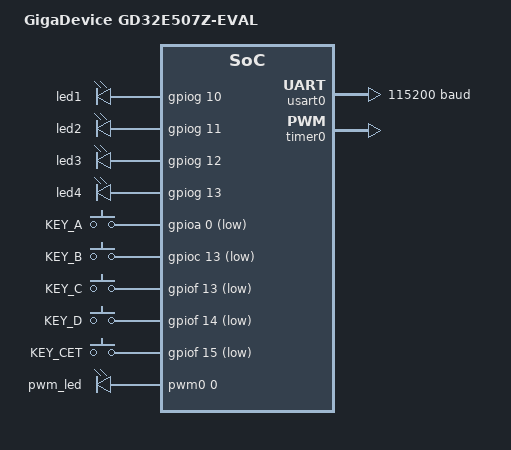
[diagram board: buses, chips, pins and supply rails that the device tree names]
/*
 * Copyright (c) 2022, Teslabs Engineering S.L.
 * SPDX-License-Identifier: Apache-2.0
 */

/dts-v1/;

#include <arm/gigadevice/gd32e50x/gd32e507xe.dtsi>
#include "gd32e507z_eval-pinctrl.dtsi"

/ {
	model = "GigaDevice GD32E507Z-EVAL";
	compatible = "gd,gd32e507z-eval";

	chosen {
		zephyr,sram = &sram0;
		zephyr,flash = &flash0;
		zephyr,console = &usart0;
		zephyr,shell-uart = &usart0;
	};

	leds {
		compatible = "gpio-leds";
		led1: led1 {
			gpios = <&gpiog 10 GPIO_ACTIVE_HIGH>;
		};
		led2: led2 {
			gpios = <&gpiog 11 GPIO_ACTIVE_HIGH>;
		};
		led3: led3 {
			gpios = <&gpiog 12 GPIO_ACTIVE_HIGH>;
		};
		led4: led4 {
			gpios = <&gpiog 13 GPIO_ACTIVE_HIGH>;
		};
	};

	gpio_keys {
		compatible = "gpio-keys";
		key_a: key_a {
			label = "KEY_A";
			gpios = <&gpioa 0 GPIO_ACTIVE_LOW>;
		};
		key_b: key_b {
			label = "KEY_B";
			gpios = <&gpioc 13 GPIO_ACTIVE_LOW>;
		};
		key_c: key_c {
			label = "KEY_C";
			gpios = <&gpiof 13 GPIO_ACTIVE_LOW>;
		};
		key_d: key_d {
			label = "KEY_D";
			gpios = <&gpiof 14 GPIO_ACTIVE_LOW>;
		};
		key_cet: key_cet {
			label = "KEY_CET";
			gpios = <&gpiof 15 GPIO_ACTIVE_LOW>;
		};
	};

	pwmleds {
		compatible = "pwm-leds";

		/* NOTE: bridge TIMER0_CH0 (PA8) and LED1 (PG10)*/
		pwm_led: pwm_led {
			pwms = <&pwm0 0 PWM_MSEC(20) PWM_POLARITY_NORMAL>;
		};
	};

	aliases {
		led0 = &led1;
		sw0 = &key_a;
		pwm-led0 = &pwm_led;
	};
};

&gpioa {
	status = "okay";
};

&gpioc {
	status = "okay";
};

&gpiof {
	status = "okay";
};

&gpiog {
	status = "okay";
};

&usart0 {
	status = "okay";
	current-speed = <115200>;
	pinctrl-0 = <&usart0_default>;
	pinctrl-names = "default";
};

&timer0 {
	status = "okay";
	prescaler = <256>;

	pwm0: pwm {
		status = "okay";
		pinctrl-0 = <&pwm0_default>;
		pinctrl-names = "default";
	};
};
